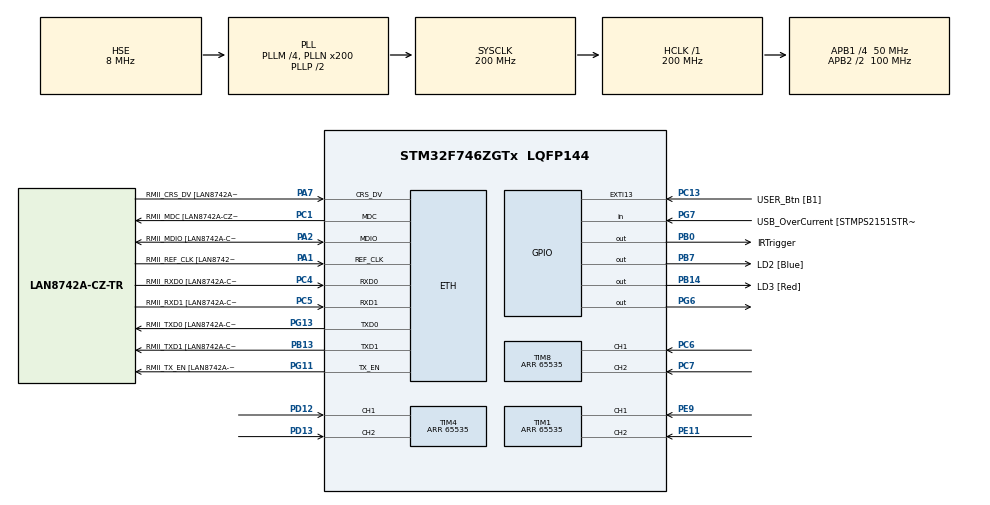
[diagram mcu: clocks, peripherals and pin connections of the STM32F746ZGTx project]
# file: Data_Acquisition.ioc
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ETH.MediaInterface=HAL_ETH_RMII_MODE
LWIP.BSP.number=1
LWIP.GATEWAY_ADDRESS=192.168.001.001
LWIP.IP_ADDRESS=192.168.001.009
LWIP.LWIP_DHCP=0
LWIP.NETMASK_ADDRESS=255.255.255.000
LWIP.Version=v2.1.2_Cube
LWIP0.BSP.STBoard=false
LWIP0.BSP.api=BSP_COMPONENT_DRIVER
LWIP0.BSP.component=LAN8742
LWIP0.BSP.instance=LAN8742
LWIP0.BSP.name=Driver_PHY
LWIP0.BSP.semaphore=S_LAN8742
LWIP0.BSP.solution=LAN8742
Mcu.Family=STM32F7
Mcu.Name=STM32F746ZGTx
Mcu.Package=LQFP144
NVIC.EXTI15_10_IRQn=true\:1\:0\:true\:false\:true\:true\:true\:true
NVIC.PriorityGroup=NVIC_PRIORITYGROUP_4
NVIC.TIM2_IRQn=true\:0\:0\:false\:false\:true\:true\:true\:true
PA1.GPIO_Label=RMII_REF_CLK [LAN8742A-CZ-TR_REFCLK0]
PA1.Mode=RMII
PA1.Signal=ETH_REF_CLK
PA13.GPIO_Label=TMS
PA13.Mode=Trace_Asynchronous_SW
PA13.Signal=SYS_JTMS-SWDIO
PA14.GPIO_Label=TCK
PA14.Mode=Trace_Asynchronous_SW
PA14.Signal=SYS_JTCK-SWCLK
PA2.GPIO_Label=RMII_MDIO [LAN8742A-CZ-TR_MDIO]
PA2.Mode=RMII
PA2.Signal=ETH_MDIO
PA7.GPIO_Label=RMII_CRS_DV [LAN8742A-CZ-TR_CRS_DV]
PA7.Mode=RMII
PA7.Signal=ETH_CRS_DV
PB0.GPIO_Label=IRTrigger
PB0.GPIO_PuPd=GPIO_PULLDOWN
PB0.GPIO_Speed=GPIO_SPEED_FREQ_HIGH
PB0.Signal=GPIO_Output
PB13.GPIO_Label=RMII_TXD1 [LAN8742A-CZ-TR_TXD1]
PB13.Mode=RMII
PB13.Signal=ETH_TXD1
PB14.GPIO_Label=LD3 [Red]
PB14.Signal=GPIO_Output
PB3.GPIO_Label=SW0
PB3.Mode=Trace_Asynchronous_SW
PB3.Signal=SYS_JTDO-SWO
PB7.GPIO_Label=LD2 [Blue]
PB7.Signal=GPIO_Output
PC1.GPIO_Label=RMII_MDC [LAN8742A-CZ-TR_MDC]
PC1.Mode=RMII
PC1.Signal=ETH_MDC
PC13.GPIO_Label=USER_Btn [B1]
PC13.GPIO_PuPd=GPIO_PULLDOWN
PC13.Signal=GPXTI13
PC14/OSC32_IN.Mode=LSE-External-Oscillator
PC14/OSC32_IN.Signal=RCC_OSC32_IN
PC15/OSC32_OUT.Mode=LSE-External-Oscillator
PC15/OSC32_OUT.Signal=RCC_OSC32_OUT
PC4.GPIO_Label=RMII_RXD0 [LAN8742A-CZ-TR_RXD0]
PC4.Mode=RMII
PC4.Signal=ETH_RXD0
PC5.GPIO_Label=RMII_RXD1 [LAN8742A-CZ-TR_RXD1]
PC5.Mode=RMII
PC5.Signal=ETH_RXD1
PC6.Signal=S_TIM8_CH1
PC7.Signal=S_TIM8_CH2
PD12.Signal=S_TIM4_CH1
PD13.Signal=S_TIM4_CH2
PE11.Signal=S_TIM1_CH2
PE9.Signal=S_TIM1_CH1
PG11.GPIO_Label=RMII_TX_EN [LAN8742A-CZ-TR_TXEN]
PG11.Mode=RMII
PG11.Signal=ETH_TX_EN
PG13.GPIO_Label=RMII_TXD0 [LAN8742A-CZ-TR_TXD0]
PG13.Mode=RMII
PG13.Signal=ETH_TXD0
PG6.Signal=GPIO_Output
PG7.GPIO_Label=USB_OverCurrent [STMPS2151STR_FAULT]
PG7.Signal=GPIO_Input
PH0/OSC_IN.GPIO_Label=MCO [STM32F103CBT6_PA8]
PH0/OSC_IN.Mode=HSE-External-Oscillator
PH0/OSC_IN.Signal=RCC_OSC_IN
PH1/OSC_OUT.Mode=HSE-External-Oscillator
PH1/OSC_OUT.Signal=RCC_OSC_OUT
ProjectManager.HeapSize=0x200
ProjectManager.StackSize=0x400
ProjectManager.TargetToolchain=STM32CubeIDE
RCC.48MHZClocksFreq_Value=24000000
RCC.AHBFreq_Value=200000000
RCC.APB1CLKDivider=RCC_HCLK_DIV4
RCC.APB1Freq_Value=50000000
RCC.APB1TimFreq_Value=100000000
RCC.APB2CLKDivider=RCC_HCLK_DIV2
RCC.APB2Freq_Value=100000000
RCC.APB2TimFreq_Value=200000000
RCC.CortexFreq_Value=200000000
RCC.HCLKFreq_Value=200000000
RCC.HSE_VALUE=8000000
RCC.HSI_VALUE=16000000
RCC.PLLM=4
RCC.PLLMUL=RCC_PLL_MUL9
RCC.PLLN=200
RCC.PLLQ=9
RCC.PLLSourceVirtual=RCC_PLLSOURCE_HSE
RCC.PRESCALERUSB=RCC_USBCLKSOURCE_PLL_DIV1_5
RCC.SYSCLKFreq_VALUE=200000000
RCC.SYSCLKSource=RCC_SYSCLKSOURCE_PLLCLK
RCC.SYSCLKSourceVirtual=RCC_SYSCLKSOURCE_PLLCLK
RCC.USBFreq_Value=44444444.44444445
RCC.VCOOutputFreq_Value=400000000
SH.S_TIM1_CH1.0=TIM1_CH1,Encoder_Interface
SH.S_TIM1_CH2.0=TIM1_CH2,Encoder_Interface
SH.S_TIM4_CH1.0=TIM4_CH1,Encoder_Interface
SH.S_TIM4_CH2.0=TIM4_CH2,Encoder_Interface
SH.S_TIM8_CH1.0=TIM8_CH1,Encoder_Interface
SH.S_TIM8_CH2.0=TIM8_CH2,Encoder_Interface
TIM1.AutoReloadPreload=TIM_AUTORELOAD_PRELOAD_ENABLE
TIM1.EncoderMode=TIM_ENCODERMODE_TI12
TIM1.IC1Filter=7
TIM1.Period=65535
TIM2.AutoReloadPreload=TIM_AUTORELOAD_PRELOAD_ENABLE
TIM2.Prescaler=0
TIM4.AutoReloadPreload=TIM_AUTORELOAD_PRELOAD_ENABLE
TIM4.EncoderMode=TIM_ENCODERMODE_TI12
TIM4.IC1Filter=7
TIM4.Period=65535
TIM8.AutoReloadPreload=TIM_AUTORELOAD_PRELOAD_ENABLE
TIM8.EncoderMode=TIM_ENCODERMODE_TI12
TIM8.IC1Filter=7
TIM8.Period=65535
VP_LWIP_VS_Enabled.Mode=Enabled
VP_TIM2_VS_ClockSourceINT.Mode=Internal
board=NUCLEO-F746ZG

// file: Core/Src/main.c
/* USER CODE BEGIN Header */
/**
  ******************************************************************************
  * @file           : main.c
  * @brief          : Main program body
  ******************************************************************************
  * @attention
  *
  * Copyright (c) 2025 STMicroelectronics.
  * All rights reserved.
  *
  * This software is licensed under terms that can be found in the LICENSE file
  * in the root directory of this software component.
  * If no LICENSE file comes with this software, it is provided AS-IS.
  *
  ******************************************************************************
  */
/* USER CODE END Header */
#include "main.h"
#include "lwip.h"

/* USER CODE BEGIN Includes */
#include "udp.h"
#include "stdio.h"
#include "stdint.h"
#include "time_keeper.h"
/* USER CODE END Includes */

TIM_HandleTypeDef htim1;
TIM_HandleTypeDef htim2;
TIM_HandleTypeDef htim4;
TIM_HandleTypeDef htim8;

/* USER CODE BEGIN PV */
uint8_t initCmd = 0;
ip_addr_t Remote_IP;
uint64_t UDP_TimeStamp;

struct udp_pcb *UDP, *NTP_UDP;
struct pbuf *Transmit_Pbuf;

union NtpClientPacket{
	uint64_t t1;
	uint8_t buffer[8];
};
union NtpClientResponsePacket{
	struct{
	uint64_t t1;
	uint64_t t2;
	uint64_t t3;
	}data;
	uint8_t buffer[24];
};

union UDP_packet outPacket;
/* USER CODE END PV */

void SystemClock_Config(void);
static void MX_GPIO_Init(void);
static void MX_TIM2_Init(void);
static void MX_TIM4_Init(void);
static void MX_TIM1_Init(void);
static void MX_TIM8_Init(void);
/* USER CODE BEGIN PFP */
void encoder_read (int32_t *mot_encoder, uint64_t *ENC_TimeStamp);
/* USER CODE END PFP */

/* USER CODE BEGIN 0 */
void sendUdpPacket(void)
{
	Transmit_Pbuf = pbuf_alloc(PBUF_TRANSPORT, sizeof(outPacket.buff), PBUF_RAM);
	pbuf_take(Transmit_Pbuf, outPacket.buff, sizeof(outPacket.buff));
	UDP_TimeStamp = Tick();
	udp_sendto(UDP, Transmit_Pbuf, &Remote_IP, 5500);
	pbuf_free(Transmit_Pbuf);
}

void NTP_server(void *arg, struct udp_pcb *pcb, struct pbuf *p, const ip_addr_t *addr, u16_t port)
{
	union NtpClientPacket client_packet;
	union NtpClientResponsePacket client_response;
	struct pbuf *response_buf;
	if(p->len == 8)
	{
		pbuf_copy_partial(p, client_packet.buffer, p->len, 0);
		client_response.data.t1 = client_packet.t1;
		client_response.data.t2 = Tick();
		response_buf = pbuf_alloc(PBUF_TRANSPORT, 24, PBUF_RAM);
		client_response.data.t3 = Tick();
		pbuf_take(response_buf, client_response.buffer, 24);
		udp_sendto(pcb, response_buf, addr, port);
		pbuf_free(response_buf);
	}
	pbuf_free(p);
}

int _write(int file, char *ptr, int len)
{
	int i = 0;
	for (i=0; i<len; i++)
		ITM_SendChar((*ptr++));
	return len;
}
/* USER CODE END 0 */

int main(void)
{

  /* MCU Configuration--------------------------------------------------------*/

  /* Reset of all peripherals, Initializes the Flash interface and the Systick. */
  HAL_Init();

  /* Configure the system clock */
  SystemClock_Config();

  /* Initialize all configured peripherals */
  MX_GPIO_Init();
  MX_LWIP_Init();
  MX_TIM2_Init();
  MX_TIM4_Init();
  MX_TIM1_Init();
  MX_TIM8_Init();
  /* USER CODE BEGIN 2 */
  HAL_TIM_Encoder_Start(&htim1, TIM_CHANNEL_ALL);
  HAL_TIM_Encoder_Start(&htim4, TIM_CHANNEL_ALL);
  HAL_TIM_Encoder_Start(&htim8, TIM_CHANNEL_ALL);
  TIM1->CNT = 0;
  TIM4->CNT = 0;
  TIM8->CNT = 0;

  timeManagerInit(&htim2);
  NTP_UDP = udp_new();
  udp_bind(NTP_UDP, IP_ADDR_ANY, 10000);
  udp_recv(NTP_UDP, NTP_server, NULL);

  IP_ADDR4(&Remote_IP, 192, 168, 1, 2);    // The IP Address for the ROS-based system
  UDP = udp_new();
  uint32_t UDP_Interval = 1000000;         // Send UDP packets every 1ms
  uint32_t UDP_counter = 0;
  uint8_t IRTracker_period = 20;           // The camera fps is set to 1/20ms = 50
  uint32_t IRTracker_pulseWidth = 700000;
  /* USER CODE END 2 */

  /* Infinite loop */
  /* USER CODE BEGIN WHILE */
  while (1)
  {
	  if (initCmd)
	  {
		  if (Tick() - UDP_TimeStamp >= UDP_Interval)
		  {
			  if (UDP_counter % IRTracker_period == 0)
			  {
				  HAL_GPIO_WritePin(IRTrigger_GPIO_Port, IRTrigger_Pin, GPIO_PIN_SET);
				  outPacket.Data.IR_TimeStamp = Tick();
			  }
			  encoder_read(outPacket.Data.mot_encoders, &outPacket.Data.ENC_TimeStamp);
			  sendUdpPacket();
			  UDP_counter++;
		  }
		  if (Tick() - outPacket.Data.IR_TimeStamp >= IRTracker_pulseWidth)
		  {
			  HAL_GPIO_WritePin(IRTrigger_GPIO_Port, IRTrigger_Pin, GPIO_PIN_RESET);
		  }
	  }
	  MX_LWIP_Process();
    /* USER CODE END WHILE */

  }
}

void SystemClock_Config(void)
{
  RCC_OscInitTypeDef RCC_OscInitStruct = {0};
  RCC_ClkInitTypeDef RCC_ClkInitStruct = {0};

  /** Configure LSE Drive Capability
  */
  HAL_PWR_EnableBkUpAccess();

  /** Configure the main internal regulator output voltage
  */
  __HAL_RCC_PWR_CLK_ENABLE();
  __HAL_PWR_VOLTAGESCALING_CONFIG(PWR_REGULATOR_VOLTAGE_SCALE1);

  /** Initializes the RCC Oscillators according to the specified parameters
  * in the RCC_OscInitTypeDef structure.
  */
  RCC_OscInitStruct.OscillatorType = RCC_OSCILLATORTYPE_HSE;
  RCC_OscInitStruct.HSEState = RCC_HSE_ON;
  RCC_OscInitStruct.PLL.PLLState = RCC_PLL_ON;
  RCC_OscInitStruct.PLL.PLLSource = RCC_PLLSOURCE_HSE;
  RCC_OscInitStruct.PLL.PLLM = 4;
  RCC_OscInitStruct.PLL.PLLN = 200;
  RCC_OscInitStruct.PLL.PLLP = RCC_PLLP_DIV2;
  RCC_OscInitStruct.PLL.PLLQ = 9;
  if (HAL_RCC_OscConfig(&RCC_OscInitStruct) != HAL_OK)
  {
    Error_Handler();
  }

  /** Activate the Over-Drive mode
  */
  if (HAL_PWREx_EnableOverDrive() != HAL_OK)
  {
    Error_Handler();
  }

  /** Initializes the CPU, AHB and APB buses clocks
  */
  RCC_ClkInitStruct.ClockType = RCC_CLOCKTYPE_HCLK|RCC_CLOCKTYPE_SYSCLK
                              |RCC_CLOCKTYPE_PCLK1|RCC_CLOCKTYPE_PCLK2;
  RCC_ClkInitStruct.SYSCLKSource = RCC_SYSCLKSOURCE_PLLCLK;
  RCC_ClkInitStruct.AHBCLKDivider = RCC_SYSCLK_DIV1;
  RCC_ClkInitStruct.APB1CLKDivider = RCC_HCLK_DIV4;
  RCC_ClkInitStruct.APB2CLKDivider = RCC_HCLK_DIV2;

  if (HAL_RCC_ClockConfig(&RCC_ClkInitStruct, FLASH_LATENCY_6) != HAL_OK)
  {
    Error_Handler();
  }
}

static void MX_TIM1_Init(void)
{

  TIM_Encoder_InitTypeDef sConfig = {0};
  TIM_MasterConfigTypeDef sMasterConfig = {0};

  htim1.Instance = TIM1;
  htim1.Init.Prescaler = 0;
  htim1.Init.CounterMode = TIM_COUNTERMODE_UP;
  htim1.Init.Period = 65535;
  htim1.Init.ClockDivision = TIM_CLOCKDIVISION_DIV1;
  htim1.Init.RepetitionCounter = 0;
  htim1.Init.AutoReloadPreload = TIM_AUTORELOAD_PRELOAD_ENABLE;
  sConfig.EncoderMode = TIM_ENCODERMODE_TI12;
  sConfig.IC1Polarity = TIM_ICPOLARITY_RISING;
  sConfig.IC1Selection = TIM_ICSELECTION_DIRECTTI;
  sConfig.IC1Prescaler = TIM_ICPSC_DIV1;
  sConfig.IC1Filter = 7;
  sConfig.IC2Polarity = TIM_ICPOLARITY_RISING;
  sConfig.IC2Selection = TIM_ICSELECTION_DIRECTTI;
  sConfig.IC2Prescaler = TIM_ICPSC_DIV1;
  sConfig.IC2Filter = 0;
  if (HAL_TIM_Encoder_Init(&htim1, &sConfig) != HAL_OK)
  {
    Error_Handler();
  }
  sMasterConfig.MasterOutputTrigger = TIM_TRGO_RESET;
  sMasterConfig.MasterOutputTrigger2 = TIM_TRGO2_RESET;
  sMasterConfig.MasterSlaveMode = TIM_MASTERSLAVEMODE_DISABLE;
  if (HAL_TIMEx_MasterConfigSynchronization(&htim1, &sMasterConfig) != HAL_OK)
  {
    Error_Handler();
  }

}

static void MX_TIM2_Init(void)
{

  TIM_ClockConfigTypeDef sClockSourceConfig = {0};
  TIM_MasterConfigTypeDef sMasterConfig = {0};

  htim2.Instance = TIM2;
  htim2.Init.Prescaler = 0;
  htim2.Init.CounterMode = TIM_COUNTERMODE_UP;
  htim2.Init.Period = 4294967295;
  htim2.Init.ClockDivision = TIM_CLOCKDIVISION_DIV1;
  htim2.Init.AutoReloadPreload = TIM_AUTORELOAD_PRELOAD_ENABLE;
  if (HAL_TIM_Base_Init(&htim2) != HAL_OK)
  {
    Error_Handler();
  }
  sClockSourceConfig.ClockSource = TIM_CLOCKSOURCE_INTERNAL;
  if (HAL_TIM_ConfigClockSource(&htim2, &sClockSourceConfig) != HAL_OK)
  {
    Error_Handler();
  }
  sMasterConfig.MasterOutputTrigger = TIM_TRGO_RESET;
  sMasterConfig.MasterSlaveMode = TIM_MASTERSLAVEMODE_DISABLE;
  if (HAL_TIMEx_MasterConfigSynchronization(&htim2, &sMasterConfig) != HAL_OK)
  {
    Error_Handler();
  }

}

static void MX_TIM4_Init(void)
{

  TIM_Encoder_InitTypeDef sConfig = {0};
  TIM_MasterConfigTypeDef sMasterConfig = {0};

  htim4.Instance = TIM4;
  htim4.Init.Prescaler = 0;
  htim4.Init.CounterMode = TIM_COUNTERMODE_UP;
  htim4.Init.Period = 65535;
  htim4.Init.ClockDivision = TIM_CLOCKDIVISION_DIV1;
  htim4.Init.AutoReloadPreload = TIM_AUTORELOAD_PRELOAD_ENABLE;
  sConfig.EncoderMode = TIM_ENCODERMODE_TI12;
  sConfig.IC1Polarity = TIM_ICPOLARITY_RISING;
  sConfig.IC1Selection = TIM_ICSELECTION_DIRECTTI;
  sConfig.IC1Prescaler = TIM_ICPSC_DIV1;
  sConfig.IC1Filter = 7;
  sConfig.IC2Polarity = TIM_ICPOLARITY_RISING;
  sConfig.IC2Selection = TIM_ICSELECTION_DIRECTTI;
  sConfig.IC2Prescaler = TIM_ICPSC_DIV1;
  sConfig.IC2Filter = 0;
  if (HAL_TIM_Encoder_Init(&htim4, &sConfig) != HAL_OK)
  {
    Error_Handler();
  }
  sMasterConfig.MasterOutputTrigger = TIM_TRGO_RESET;
  sMasterConfig.MasterSlaveMode = TIM_MASTERSLAVEMODE_DISABLE;
  if (HAL_TIMEx_MasterConfigSynchronization(&htim4, &sMasterConfig) != HAL_OK)
  {
    Error_Handler();
  }

}

static void MX_TIM8_Init(void)
{

  TIM_Encoder_InitTypeDef sConfig = {0};
  TIM_MasterConfigTypeDef sMasterConfig = {0};

  htim8.Instance = TIM8;
  htim8.Init.Prescaler = 0;
  htim8.Init.CounterMode = TIM_COUNTERMODE_UP;
  htim8.Init.Period = 65535;
  htim8.Init.ClockDivision = TIM_CLOCKDIVISION_DIV1;
  htim8.Init.RepetitionCounter = 0;
  htim8.Init.AutoReloadPreload = TIM_AUTORELOAD_PRELOAD_ENABLE;
  sConfig.EncoderMode = TIM_ENCODERMODE_TI12;
  sConfig.IC1Polarity = TIM_ICPOLARITY_RISING;
  sConfig.IC1Selection = TIM_ICSELECTION_DIRECTTI;
  sConfig.IC1Prescaler = TIM_ICPSC_DIV1;
  sConfig.IC1Filter = 7;
  sConfig.IC2Polarity = TIM_ICPOLARITY_RISING;
  sConfig.IC2Selection = TIM_ICSELECTION_DIRECTTI;
  sConfig.IC2Prescaler = TIM_ICPSC_DIV1;
  sConfig.IC2Filter = 0;
  if (HAL_TIM_Encoder_Init(&htim8, &sConfig) != HAL_OK)
  {
    Error_Handler();
  }
  sMasterConfig.MasterOutputTrigger = TIM_TRGO_RESET;
  sMasterConfig.MasterOutputTrigger2 = TIM_TRGO2_RESET;
  sMasterConfig.MasterSlaveMode = TIM_MASTERSLAVEMODE_DISABLE;
  if (HAL_TIMEx_MasterConfigSynchronization(&htim8, &sMasterConfig) != HAL_OK)
  {
    Error_Handler();
  }

}

static void MX_GPIO_Init(void)
{
  GPIO_InitTypeDef GPIO_InitStruct = {0};

  /* GPIO Ports Clock Enable */
  __HAL_RCC_GPIOC_CLK_ENABLE();
  __HAL_RCC_GPIOH_CLK_ENABLE();
  __HAL_RCC_GPIOA_CLK_ENABLE();
  __HAL_RCC_GPIOB_CLK_ENABLE();
  __HAL_RCC_GPIOE_CLK_ENABLE();
  __HAL_RCC_GPIOD_CLK_ENABLE();
  __HAL_RCC_GPIOG_CLK_ENABLE();

  /*Configure GPIO pin Output Level */
  HAL_GPIO_WritePin(GPIOB, IRTrigger_Pin|LD3_Pin|LD2_Pin, GPIO_PIN_RESET);

  /*Configure GPIO pin Output Level */
  HAL_GPIO_WritePin(GPIOG, GPIO_PIN_6, GPIO_PIN_RESET);

  /*Configure GPIO pin : USER_Btn_Pin */
  GPIO_InitStruct.Pin = USER_Btn_Pin;
  GPIO_InitStruct.Mode = GPIO_MODE_IT_RISING;
  GPIO_InitStruct.Pull = GPIO_PULLDOWN;
  HAL_GPIO_Init(USER_Btn_GPIO_Port, &GPIO_InitStruct);

  /*Configure GPIO pin : IRTrigger_Pin */
  GPIO_InitStruct.Pin = IRTrigger_Pin;
  GPIO_InitStruct.Mode = GPIO_MODE_OUTPUT_PP;
  GPIO_InitStruct.Pull = GPIO_PULLDOWN;
  GPIO_InitStruct.Speed = GPIO_SPEED_FREQ_HIGH;
  HAL_GPIO_Init(IRTrigger_GPIO_Port, &GPIO_InitStruct);

  /*Configure GPIO pins : LD3_Pin LD2_Pin */
  GPIO_InitStruct.Pin = LD3_Pin|LD2_Pin;
  GPIO_InitStruct.Mode = GPIO_MODE_OUTPUT_PP;
  GPIO_InitStruct.Pull = GPIO_NOPULL;
  GPIO_InitStruct.Speed = GPIO_SPEED_FREQ_LOW;
  HAL_GPIO_Init(GPIOB, &GPIO_InitStruct);

  /*Configure GPIO pin : PG6 */
  GPIO_InitStruct.Pin = GPIO_PIN_6;
  GPIO_InitStruct.Mode = GPIO_MODE_OUTPUT_PP;
  GPIO_InitStruct.Pull = GPIO_NOPULL;
  GPIO_InitStruct.Speed = GPIO_SPEED_FREQ_LOW;
  HAL_GPIO_Init(GPIOG, &GPIO_InitStruct);

  /*Configure GPIO pin : USB_OverCurrent_Pin */
  GPIO_InitStruct.Pin = USB_OverCurrent_Pin;
  GPIO_InitStruct.Mode = GPIO_MODE_INPUT;
  GPIO_InitStruct.Pull = GPIO_NOPULL;
  HAL_GPIO_Init(USB_OverCurrent_GPIO_Port, &GPIO_InitStruct);

  /* EXTI interrupt init*/
  HAL_NVIC_SetPriority(EXTI15_10_IRQn, 1, 0);
  HAL_NVIC_EnableIRQ(EXTI15_10_IRQn);

}

void Error_Handler(void)
{
  __disable_irq();
  while (1)
  {
  }
}
